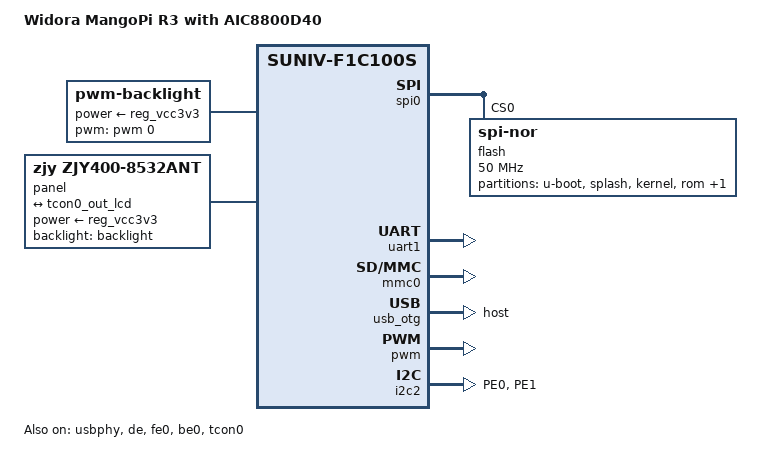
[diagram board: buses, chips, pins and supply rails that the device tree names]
// SPDX-License-Identifier: (GPL-2.0+ OR X11)

/dts-v1/;
#include "suniv-f1c100s.dtsi"

/ {
	model = "Widora MangoPi R3 with AIC8800D40";
	compatible = "allwinner,suniv-f1c200s",
		     "allwinner,suniv-f1c100s";

	aliases {
		/* UART1 is routed to PA2/PA3 and is the only debug console. */
		serial0 = &uart1;
	};

	chosen {
		#address-cells = <1>;
		#size-cells = <1>;
		ranges;
		stdout-path = "serial0:115200n8";

		bootargs = "console=ttyS0,115200 earlycon rootwait init=/preinit root=/dev/mtdblock3 rootfstype=squashfs overlayfsdev=/dev/mtdblock4";

		/* Filled and enabled by U-Boot after the display is initialized. */
		simplefb_lcd: framebuffer-lcd0 {
			compatible = "allwinner,simple-framebuffer",
				     "simple-framebuffer";
			allwinner,pipeline = "de_be0-lcd0";
			clocks = <&ccu CLK_BUS_DE_BE>, <&ccu CLK_DE_BE>,
				 <&ccu CLK_DRAM_DE_BE>, <&ccu CLK_BUS_LCD>,
				 <&ccu CLK_TCON>;
			status = "disabled";
		};
	};

	backlight: backlight {
		compatible = "pwm-backlight";
		pwms = <&pwm 0 50000 0>;
		brightness-levels = <0 4 8 16 32 64 128 255>;
		default-brightness-level = <6>;

		/*
		 * The board only routes a PWM signal to the backlight circuit;
		 * there is no GPIO-controlled backlight power rail.  This phandle
		 * represents the already-present 3.3 V rail required by the Linux
		 * pwm-backlight driver and does not switch any pin or regulator.
		 */
		power-supply = <&reg_vcc3v3>;
	};

	panel: panel {
		compatible = "zjy,zjy400-8532ant";
		backlight = <&backlight>;

		/* The LCD logic supply is hard-wired; no enable GPIO exists. */
		power-supply = <&reg_vcc3v3>;

		port {
			panel_input: endpoint {
				remote-endpoint = <&tcon0_out_lcd>;
			};
		};
	};
};

&pio {
	/*
	 * RGB666 pinout from the schematic:
	 * PD0..5=B2..7, PD6..11=G2..7, PD12..17=R2..7,
	 * PD18=PCLK, PD19=DE, PD20=HSYNC, PD21=VSYNC.
	 */
	lcd_rgb666_pins: lcd-rgb666-pins {
		pins = "PD0", "PD1", "PD2", "PD3", "PD4", "PD5",
		       "PD6", "PD7", "PD8", "PD9", "PD10", "PD11",
		       "PD12", "PD13", "PD14", "PD15", "PD16", "PD17",
		       "PD18", "PD19", "PD20", "PD21";
		function = "lcd";
	};

	i2c2_pe_pins: i2c2-pe-pins {
		pins = "PE0", "PE1";
		function = "i2c2";
		bias-pull-up;
	};
};

&spi0 {
	status = "okay";

	flash@0 {
		compatible = "jedec,spi-nor";
		reg = <0>;
		spi-max-frequency = <50000000>;

		partitions {
			compatible = "fixed-partitions";
			#address-cells = <1>;
			#size-cells = <1>;

			partition@0 {
				label = "u-boot";
				reg = <0x000000 0x080000>;
				read-only;
			};

			partition@80000 {
				label = "splash";
				reg = <0x080000 0x080000>;
				read-only;
			};

			partition@100000 {
				label = "kernel";
				reg = <0x100000 0x500000>;
				read-only;
			};

			partition@600000 {
				label = "rom";
				reg = <0x600000 0x880000>;
				read-only;
			};

			partition@e80000 {
				label = "overlay";
				reg = <0xe80000 0x180000>;
			};
		};
	};
};

&uart1 {
	pinctrl-names = "default";
	pinctrl-0 = <&uart1_pa_pins>;
	status = "okay";
};

&mmc0 {
	broken-cd;
	status = "okay";
};

&otg_sram {
	status = "okay";
};

&usb_otg {
	dr_mode = "host";
	status = "okay";
};

&usbphy {
	status = "okay";
};

/* These inherited virtual rails have no corresponding control on this PCB. */
&reg_vcc3v0 {
	status = "disabled";
};

&reg_vcc5v0 {
	status = "disabled";
};

&de {
	status = "okay";
};

&fe0 {
	status = "okay";
};

&be0 {
	status = "okay";
};

&tcon0 {
	pinctrl-names = "default";
	pinctrl-0 = <&lcd_rgb666_pins>;
	status = "okay";
};

&tcon0_out {
	tcon0_out_lcd: endpoint@0 {
		reg = <0>;
		remote-endpoint = <&panel_input>;
	};
};

&pwm {
	pinctrl-names = "default";
	pinctrl-0 = <&pwm0_pe_pins>;
	status = "okay";
};

&i2c2 {
	pinctrl-names = "default";
	pinctrl-0 = <&i2c2_pe_pins>;
	status = "okay";
};
